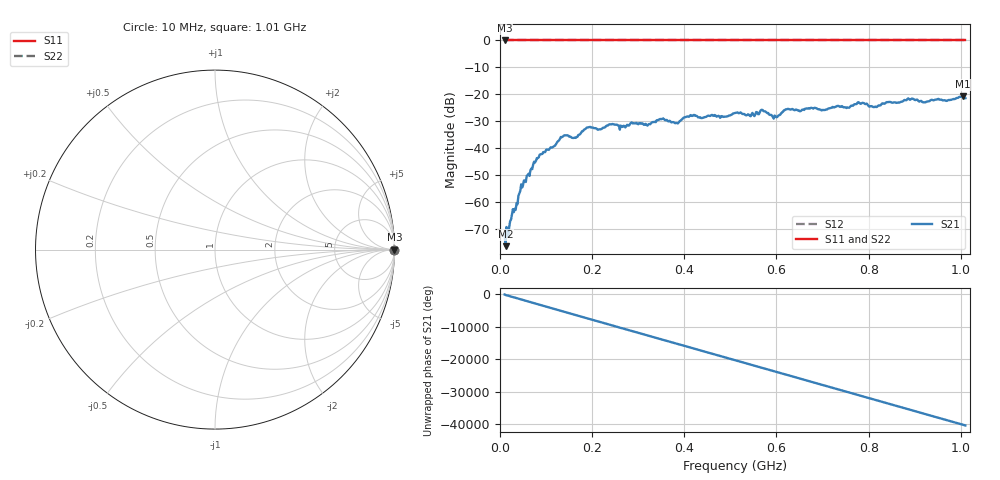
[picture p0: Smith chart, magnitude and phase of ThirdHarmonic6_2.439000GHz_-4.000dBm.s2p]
! 8/17/2025 4:16:37 AM
! C:\ANRITSUVNA\TEMP\TEMP.S2P
! CHANNEL.1
! TR.MEASUREMENT
! RAW.DATA
! RF.CORRECTION.OFF
! AVERAGING.OFF
! IF.BANDWIDTH: 5KHZ
! SWEEPTYPE:  FREQ.SWEEP(Linear)
! Reference Plane Port Info
! PORT:  PORT1  PORT2
! DISTANCE:  0  m  0  m
! TIME:  0  s  0  s
! PHASE.OFFSET:  0  deg.  0  deg.
! LOSS:  0  dB  0  dB
! REF.LOSS:  0  dB  0  dB
! REF.FREQ:  0  Hz  0  Hz
! Power Info
! POWER:  -20  dBm  -20  dBm
! EFF.POWER:  -20  dBm  -20  dBm
! SOURCE.ATTEN:  0  dB  0  dB
! TEST.ATTEN:  0  dB  0  dB
# GHZ S RI R 50.0
! FREQ.GHZ  S11RE  S11IM  S21RE  S21IM  S12RE  S12IM  S22RE  S22IM
!; PortSelection: Port_12
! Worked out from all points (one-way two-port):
!   501 points, 10 MHz to 1.01 GHz, reference 50 ohm
!   highest |S21| = -20.73 dB at 1.004 GHz (marker M1); lowest = -76.2 dB at 12 MHz (marker M2)
!   lowest |S11| = 0.0 dB at 10 MHz (marker M3)
!   |S11| at or under -10 dB: nowhere
!   |S22| runs from 0.0 to 0.0 dB; largest |S21 - S12| = 1.1
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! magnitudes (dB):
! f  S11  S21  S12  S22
! 10 MHz  0.0  -71.7  0.0  0.0
! 12 MHz  0.0  -76.2  0.0  0.0
! 16 MHz  0.0  -71.4  0.0  0.0
! 24 MHz  0.0  -66.3  0.0  0.0
! 48 MHz  0.0  -54.5  0.0  0.0
! 84 MHz  0.0  -43.3  0.0  0.0
! 136 MHz  0.0  -35.7  0.0  0.0
! 164 MHz  0.0  -36.1  0.0  0.0
! 178 MHz  0.0  -33.6  0.0  0.0
! 344 MHz  0.0  -29.4  0.0  0.0
! 384 MHz  0.0  -30.6  0.0  0.0
! 416 MHz  0.0  -27.9  0.0  0.0
! 510 MHz  0.0  -26.9  0.0  0.0
! 570 MHz  0.0  -25.8  0.0  0.0
! 598 MHz  0.0  -28.1  0.0  0.0
! 622 MHz  0.0  -25.5  0.0  0.0
! 678 MHz  0.0  -25.1  0.0  0.0
! 780 MHz  0.0  -23.2  0.0  0.0
! 814 MHz  0.0  -24.5  0.0  0.0
! 844 MHz  0.0  -22.8  0.0  0.0
! 1.004 GHz  0.0  -20.7  0.0  0.0
! 1.01 GHz  0.0  -21.4  0.0  0.0
